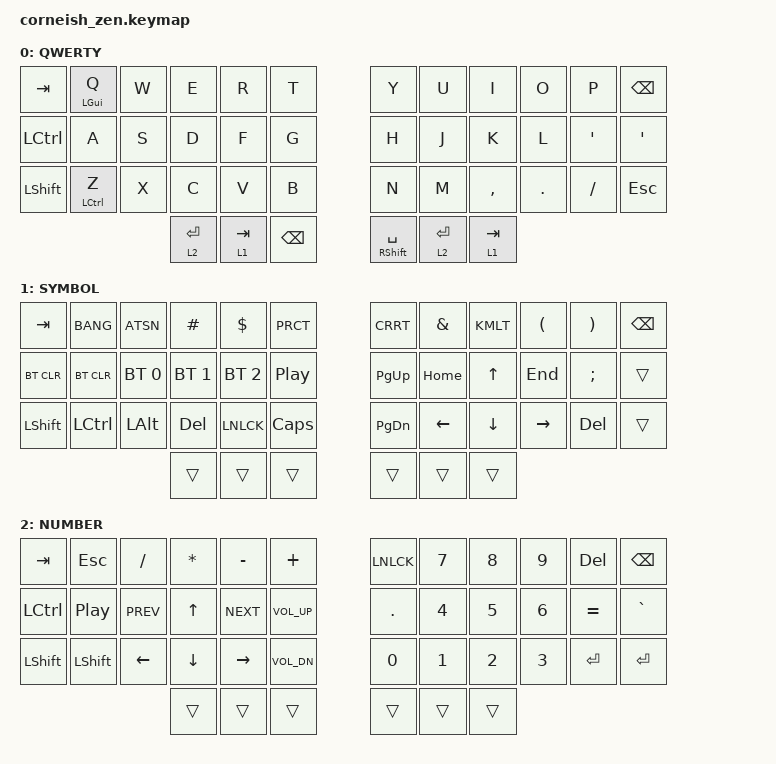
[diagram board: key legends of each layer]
#include <behaviors.dtsi>
#include <dt-bindings/zmk/keys.h>
#include <dt-bindings/zmk/bt.h>

/ {
  chosen {
    zmk,matrix_transform = &default_transform;
    //zmk,matrix_transform = &five_column_transform;
  };
};

/ {
        keymap {
                compatible = "zmk,keymap";

                default_layer {
                        label = "QWERTY";
// -----------------------------------------------------------------------------------------
// |  TAB |  Q  |  W  |  E  |  R  |  T  |   |  Y  |  U   |  I  |  O  |  P  | BKSP |
// | CTRL |  A  |  S  |  D  |  F  |  G  |   |  H  |  J   |  K  |  L  |  ;  |  '   |
// | SHFT |  Z  |  X  |  C  |  V  |  B  |   |  N  |  M   |  ,  |  .  |  /  | ESC  |
//                    | RET | TAB | BSC |   | ENT | RET  | TAB |
                        bindings = <
   &kp TAB   &mt LGUI Q &kp W &kp E &kp R &kp T   &kp Y &kp U  &kp I     &kp O   &kp P    &kp BSPC
   &kp LCTRL &kp A &kp S &kp D &kp F &kp G   &kp H &kp J  &kp K     &kp L   &kp SQT &kp SQT
   &kp LSHFT &mt LCTRL Z &kp X &kp C &kp V &kp B   &kp N &kp M  &kp COMMA &kp DOT &kp FSLH &kp ESC
                  &lt 2 RET &lt 1 TAB &kp BKSP   &mt RSHIFT SPC &lt 2 RET &lt 1 TAB
                        >;
                };
                lower_layer {
                        label = "SYMBOL";
// -----------------------------------------------------------------------------------------
// |  TAB |  !  |  @  |  #  |  $  |  %  |   |  ^  |  &  |  *  |  (  |  )  | BKSP |
// | BTCLR| BT1 | BT2 | BT3 | BT4 | BT5 |   | PGU | HME |  UP | END |  ;  |      |
// | SHFT | CTRL| ALT | DEL | #LK | CAPS|   | PGD | LFT | DWN | RGT | DEL |      |
//                    |     |     |     |   |     |     |     |
                        bindings = <
   &kp TAB    &kp BANG       &kp ATSN       &kp HASH       &kp DLLR       &kp PRCT         &kp CRRT   &kp AMPS   &kp KMLT &kp LPRN    &kp RPRN &kp BSPC
   &bt BT_CLR &bt BT_CLR &bt BT_SEL 0 &bt BT_SEL 1 &bt BT_SEL 2 &kp C_PP   &kp PG_UP &kp HOME &kp UP &kp END &kp SEMI &trans
   &kp LSHFT  &kp LCTRL       &kp LALT       &kp DEL       &kp LNLCK       &kp CAPS         &kp PG_DN   &kp LEFT   &kp DOWN &kp RIGHT    &kp DEL &trans
                          	        &trans     &trans       &trans      &trans  &trans   &trans
                        >;
                };

                raise_layer {
                        label = "NUMBER";
// -----------------------------------------------------------------------------------------
// |  TAB | ESC |  /  |  *  |  -  |  +  |   | #LK |  7  |  8  |  9  | DEL | BSPC |
// | CTRL | PP  | PRV |  UP | NXT | VUP |   |  .  |  4  |  5  |  6  |  =  |  `   |
// | SHFT |SHFT | LFT | DWN | RGT | VDN |   |  0  |  1  |  2  |  3  | RET |  ~   |
//                    |     |     |     |   |     |     |     |
                        bindings = <
   &kp  TAB  &kp ESC &kp FSLH &kp STAR &kp MINUS &kp PLUS   &kp LNLCK &kp NUM_7  &kp NUM_8 &kp NUM_9 &kp DEL &kp BSPC
   &kp LCTRL &kp C_PP   &kp C_PREV &kp UP   &kp C_NEXT   &kp C_VOL_UP      &kp DOT &kp NUM_4 &kp NUM_5        &kp NUM_6 &kp EQL &kp GRAVE
   &kp LSHFT &kp LSHFT   &kp LEFT &kp DOWN   &kp RIGHT   &kp C_VOL_DN      &kp NUM_0 &kp NUM_1  &kp NUM_2        &kp NUM_3 &kp RET &kp RET
                    	     &trans &trans   &trans   &trans   &trans    &trans
                        >;
                };
        };
};
